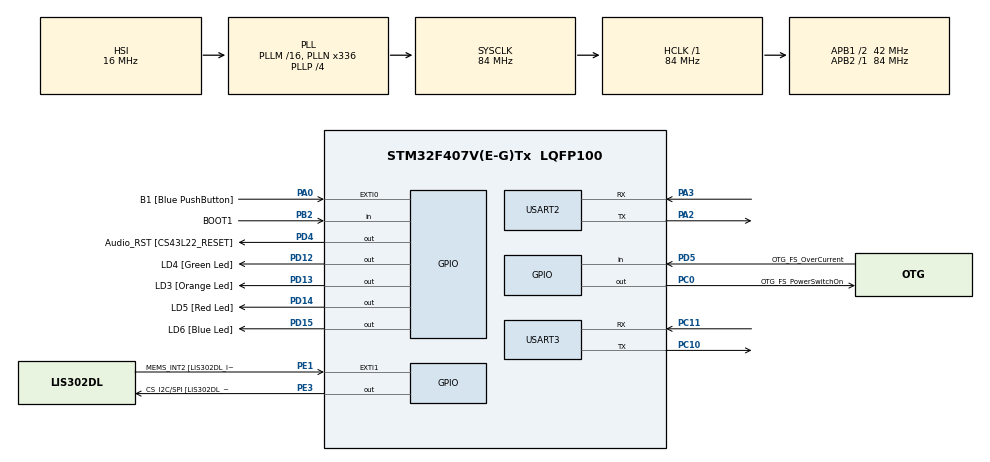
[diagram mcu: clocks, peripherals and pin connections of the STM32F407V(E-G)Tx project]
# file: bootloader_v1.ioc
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Mcu.Family=STM32F4
Mcu.Name=STM32F407V(E-G)Tx
Mcu.Package=LQFP100
NVIC.PriorityGroup=NVIC_PRIORITYGROUP_0
PA0-WKUP.GPIO_Label=B1 [Blue PushButton]
PA0-WKUP.GPIO_ModeDefaultEXTI=GPIO_MODE_EVT_RISING
PA0-WKUP.GPIO_PuPd=GPIO_NOPULL
PA0-WKUP.Signal=GPXTI0
PA10.GPIO_Label=OTG_FS_ID
PA10.GPIO_Mode=GPIO_MODE_AF_PP
PA10.GPIO_PuPd=GPIO_NOPULL
PA10.GPIO_Speed=GPIO_SPEED_FREQ_LOW
PA10.Signal=USB_OTG_FS_ID
PA11.GPIO_Label=OTG_FS_DM
PA11.GPIO_Mode=GPIO_MODE_AF_PP
PA11.GPIO_PuPd=GPIO_NOPULL
PA11.GPIO_Speed=GPIO_SPEED_FREQ_LOW
PA11.Signal=USB_OTG_FS_DM
PA12.GPIO_Label=OTG_FS_DP
PA12.GPIO_Mode=GPIO_MODE_AF_PP
PA12.GPIO_PuPd=GPIO_NOPULL
PA12.GPIO_Speed=GPIO_SPEED_FREQ_LOW
PA12.Signal=USB_OTG_FS_DP
PA13.GPIO_Label=SWDIO
PA13.Signal=SYS_JTMS-SWDIO
PA14.GPIO_Label=SWCLK
PA14.Signal=SYS_JTCK-SWCLK
PA2.Mode=Asynchronous
PA2.Signal=USART2_TX
PA3.Mode=Asynchronous
PA3.Signal=USART2_RX
PA4.GPIO_Label=I2S3_WS [CS43L22_LRCK]
PA4.GPIO_Mode=GPIO_MODE_AF_PP
PA4.GPIO_PuPd=GPIO_NOPULL
PA4.GPIO_Speed=GPIO_SPEED_FREQ_LOW
PA4.Signal=I2S3_WS
PA5.GPIO_Label=SPI1_SCK [LIS302DL_SCL/SPC]
PA5.GPIO_Mode=GPIO_MODE_AF_PP
PA5.GPIO_PuPd=GPIO_NOPULL
PA5.GPIO_Speed=GPIO_SPEED_FREQ_LOW
PA5.Signal=SPI1_SCK
PA6.GPIO_Label=SPI1_MISO [LIS302DL_SDO]
PA6.GPIO_Mode=GPIO_MODE_AF_PP
PA6.GPIO_PuPd=GPIO_NOPULL
PA6.GPIO_Speed=GPIO_SPEED_FREQ_LOW
PA6.Signal=SPI1_MISO
PA7.GPIO_Label=SPI1_MOSI [LIS302DL_SDA/SDI/SDO]
PA7.GPIO_Mode=GPIO_MODE_AF_PP
PA7.GPIO_PuPd=GPIO_NOPULL
PA7.GPIO_Speed=GPIO_SPEED_FREQ_LOW
PA7.Signal=SPI1_MOSI
PA9.GPIO_Label=VBUS_FS
PA9.GPIO_Mode=GPIO_MODE_INPUT
PA9.GPIO_PuPd=GPIO_NOPULL
PA9.Signal=USB_OTG_FS_VBUS
PB10.GPIO_Label=CLK_IN [MP45DT02_CLK]
PB10.GPIO_Mode=GPIO_MODE_AF_PP
PB10.GPIO_PuPd=GPIO_NOPULL
PB10.GPIO_Speed=GPIO_SPEED_FREQ_LOW
PB10.Signal=I2S2_CK
PB2.GPIO_Label=BOOT1
PB2.GPIO_Mode=GPIO_MODE_INPUT
PB2.GPIO_PuPd=GPIO_NOPULL
PB2.Signal=GPIO_Input
PB3.GPIO_Label=SWO
PB3.Signal=SYS_JTDO-SWO
PB6.GPIO_Label=Audio_SCL [CS43L22_SCL]
PB6.GPIO_Mode=GPIO_MODE_AF_OD
PB6.GPIO_PuPd=GPIO_NOPULL
PB6.GPIO_Speed=GPIO_SPEED_FREQ_LOW
PB6.Signal=I2C1_SCL
PB9.GPIO_Label=Audio_SDA [CS43L22_SDA]
PB9.GPIO_Mode=GPIO_MODE_AF_OD
PB9.GPIO_PuPd=GPIO_NOPULL
PB9.GPIO_Speed=GPIO_SPEED_FREQ_LOW
PB9.Signal=I2C1_SDA
PC0.GPIO_Label=OTG_FS_PowerSwitchOn
PC0.GPIO_PuPd=GPIO_NOPULL
PC0.GPIO_Speed=GPIO_SPEED_FREQ_LOW
PC0.PinState=GPIO_PIN_SET
PC0.Signal=GPIO_Output
PC10.Mode=Asynchronous
PC10.Signal=USART3_TX
PC11.Mode=Asynchronous
PC11.Signal=USART3_RX
PC12.GPIO_Label=I2S3_SD [CS43L22_SDIN]
PC12.GPIO_Mode=GPIO_MODE_AF_PP
PC12.GPIO_PuPd=GPIO_NOPULL
PC12.GPIO_Speed=GPIO_SPEED_FREQ_LOW
PC12.Signal=I2S3_SD
PC14-OSC32_IN.GPIO_Label=PC14-OSC32_IN
PC14-OSC32_IN.Signal=RCC_OSC32_IN
PC15-OSC32_OUT.GPIO_Label=PC15-OSC32_OUT
PC15-OSC32_OUT.Signal=RCC_OSC32_OUT
PC3.GPIO_Label=PDM_OUT [MP45DT02_DOUT]
PC3.GPIO_Mode=GPIO_MODE_AF_PP
PC3.GPIO_PuPd=GPIO_NOPULL
PC3.GPIO_Speed=GPIO_SPEED_FREQ_LOW
PC3.Signal=I2S2_SD
PC7.GPIO_Label=I2S3_MCK [CS43L22_MCLK]
PC7.GPIO_Mode=GPIO_MODE_AF_PP
PC7.GPIO_PuPd=GPIO_NOPULL
PC7.GPIO_Speed=GPIO_SPEED_FREQ_LOW
PC7.Signal=I2S3_MCK
PD12.GPIO_Label=LD4 [Green Led]
PD12.GPIO_PuPd=GPIO_NOPULL
PD12.GPIO_Speed=GPIO_SPEED_FREQ_LOW
PD12.Signal=GPIO_Output
PD13.GPIO_Label=LD3 [Orange Led]
PD13.GPIO_PuPd=GPIO_NOPULL
PD13.GPIO_Speed=GPIO_SPEED_FREQ_LOW
PD13.Signal=GPIO_Output
PD14.GPIO_Label=LD5 [Red Led]
PD14.GPIO_PuPd=GPIO_NOPULL
PD14.GPIO_Speed=GPIO_SPEED_FREQ_LOW
PD14.Signal=GPIO_Output
PD15.GPIO_Label=LD6 [Blue Led]
PD15.GPIO_PuPd=GPIO_NOPULL
PD15.GPIO_Speed=GPIO_SPEED_FREQ_LOW
PD15.Signal=GPIO_Output
PD4.GPIO_Label=Audio_RST [CS43L22_RESET]
PD4.GPIO_PuPd=GPIO_NOPULL
PD4.GPIO_Speed=GPIO_SPEED_FREQ_LOW
PD4.Signal=GPIO_Output
PD5.GPIO_Label=OTG_FS_OverCurrent
PD5.GPIO_Mode=GPIO_MODE_INPUT
PD5.GPIO_PuPd=GPIO_NOPULL
PD5.Signal=GPIO_Input
PE1.GPIO_Label=MEMS_INT2 [LIS302DL_INT2]
PE1.GPIO_ModeDefaultEXTI=GPIO_MODE_EVT_RISING
PE1.GPIO_PuPd=GPIO_NOPULL
PE1.Signal=GPXTI1
PE3.GPIO_Label=CS_I2C/SPI [LIS302DL_CS_I2C/SPI]
PE3.GPIO_PuPd=GPIO_NOPULL
PE3.GPIO_Speed=GPIO_SPEED_FREQ_LOW
PE3.Signal=GPIO_Output
PH0-OSC_IN.GPIO_Label=PH0-OSC_IN
PH0-OSC_IN.Signal=RCC_OSC_IN
PH1-OSC_OUT.GPIO_Label=PH1-OSC_OUT
PH1-OSC_OUT.Signal=RCC_OSC_OUT
ProjectManager.HeapSize=0x200
ProjectManager.StackSize=0x400
ProjectManager.TargetToolchain=MDK-ARM V5
RCC.48MHZClocksFreq_Value=48000000
RCC.AHBFreq_Value=84000000
RCC.APB1CLKDivider=RCC_HCLK_DIV2
RCC.APB1Freq_Value=42000000
RCC.APB1TimFreq_Value=84000000
RCC.APB2Freq_Value=84000000
RCC.APB2TimFreq_Value=84000000
RCC.CortexFreq_Value=84000000
RCC.HCLKFreq_Value=84000000
RCC.HSE_VALUE=8000000
RCC.HSI_VALUE=16000000
RCC.LSE_VALUE=32768
RCC.PLLN=336
RCC.PLLP=RCC_PLLP_DIV4
RCC.PLLQ=7
RCC.SYSCLKFreq_VALUE=84000000
RCC.SYSCLKSource=RCC_SYSCLKSOURCE_PLLCLK
RCC.VCOOutputFreq_Value=336000000
USART2.VirtualMode=VM_ASYNC
USART3.VirtualMode=VM_ASYNC
VP_CRC_VS_CRC.Mode=CRC_Activate
board=STM32F4DISCOVERY

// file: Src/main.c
/**
  ******************************************************************************
  * @file           : main.c
  * @brief          : Main program body
  ******************************************************************************
  ** This notice applies to any and all portions of this file
  * that are not between comment pairs USER CODE BEGIN and
  * USER CODE END. Other portions of this file, whether
  * inserted by the user or by software development tools
  * are owned by their respective copyright owners.
  *
  * COPYRIGHT(c) 2019 STMicroelectronics
  *
  * Redistribution and use in source and binary forms, with or without modification,
  * are permitted provided that the following conditions are met:
  *   1. Redistributions of source code must retain the above copyright notice,
  *      this list of conditions and the following disclaimer.
  *   2. Redistributions in binary form must reproduce the above copyright notice,
  *      this list of conditions and the following disclaimer in the documentation
  *      and/or other materials provided with the distribution.
  *   3. Neither the name of STMicroelectronics nor the names of its contributors
  *      may be used to endorse or promote products derived from this software
  *      without specific prior written permission.
  *
  * THIS SOFTWARE IS PROVIDED BY THE COPYRIGHT HOLDERS AND CONTRIBUTORS "AS IS"
  * AND ANY EXPRESS OR IMPLIED WARRANTIES, INCLUDING, BUT NOT LIMITED TO, THE
  * IMPLIED WARRANTIES OF MERCHANTABILITY AND FITNESS FOR A PARTICULAR PURPOSE ARE
  * DISCLAIMED. IN NO EVENT SHALL THE COPYRIGHT HOLDER OR CONTRIBUTORS BE LIABLE
  * FOR ANY DIRECT, INDIRECT, INCIDENTAL, SPECIAL, EXEMPLARY, OR CONSEQUENTIAL
  * DAMAGES (INCLUDING, BUT NOT LIMITED TO, PROCUREMENT OF SUBSTITUTE GOODS OR
  * SERVICES; LOSS OF USE, DATA, OR PROFITS; OR BUSINESS INTERRUPTION) HOWEVER
  * CAUSED AND ON ANY THEORY OF LIABILITY, WHETHER IN CONTRACT, STRICT LIABILITY,
  * OR TORT (INCLUDING NEGLIGENCE OR OTHERWISE) ARISING IN ANY WAY OUT OF THE USE
  * OF THIS SOFTWARE, EVEN IF ADVISED OF THE POSSIBILITY OF SUCH DAMAGE.
  *
  ******************************************************************************
  */
#include <stdint.h>
#include <stdarg.h>
#include <string.h>
#include "main.h"
#include "stm32f4xx_hal.h"

/* USER CODE BEGIN Includes */
#define BL_DEBUG_MSG_EN
/* USER CODE END Includes */

CRC_HandleTypeDef hcrc;

UART_HandleTypeDef huart2;
UART_HandleTypeDef huart3;

/* USER CODE BEGIN PV */
/* Private variables ---------------------------------------------------------*/
uint8_t supported_commands[] = {
                               BL_GET_VER ,
                               BL_GET_HELP,
                               BL_GET_CID,
                               BL_GET_RDP_STATUS,
                               BL_GO_TO_ADDR,
                               BL_FLASH_ERASE,
                               BL_MEM_WRITE,
                               BL_READ_SECTOR_P_STATUS} ;

#define D_UART &huart3
#define C_UART &huart2
/* USER CODE END PV */

void SystemClock_Config(void);
static void MX_GPIO_Init(void);
static void MX_USART2_UART_Init(void);
static void MX_USART3_UART_Init(void);
static void MX_CRC_Init(void);

/* USER CODE BEGIN PFP */
/* Private function prototypes -----------------------------------------------*/
void printmsg(char *format,...);
/* USER CODE END PFP */

/* USER CODE BEGIN 0 */
char *string1 = "Hello World\r\n";
#define BL_RX_LEN  200
uint8_t bl_rx_buffer[200];
//UART_HandleTypeDef huart2;
/* USER CODE END 0 */

int main(void)
{

  /* MCU Configuration----------------------------------------------------------*/

  /* Reset of all peripherals, Initializes the Flash interface and the Systick. */
  HAL_Init();

  /* Configure the system clock */
  SystemClock_Config();

  /* Initialize all configured peripherals */
  MX_GPIO_Init();
  MX_USART2_UART_Init();
  MX_USART3_UART_Init();
  MX_CRC_Init();

	if ( HAL_GPIO_ReadPin(B1_GPIO_Port,B1_Pin) != GPIO_PIN_RESET )
  {
	  printmsg("BL_DEBUG_MSG:Button is pressed .. going to BL mode\n\r");

	  //we should continue in bootloader mode
	  bootloader_uart_read_data();

  }
  else
  {
	  printmsg("BL_DEBUG_MSG:Button is not pressed .. executing user app\n");

		//jump to user application
		bootloader_jump_to_user_app();

  }
  /* Infinite loop */
  /* USER CODE BEGIN WHILE */
//  while (1)
//  {
//
  /* USER CODE END WHILE */

  /* USER CODE BEGIN 3 */
//
//
//  }
  /* USER CODE END 3 */

}

void  bootloader_uart_read_data(void)
{
    uint8_t rcv_len=0;

	while(1)
	{
		memset(bl_rx_buffer,0,200);
		//here we will read and decode the commands coming from host
		//first read only one byte from the host , which is the "length" field of the command packet
    HAL_UART_Receive(C_UART,bl_rx_buffer,1,HAL_MAX_DELAY);
		rcv_len= bl_rx_buffer[0];
		HAL_UART_Receive(C_UART,&bl_rx_buffer[1],rcv_len,HAL_MAX_DELAY);
		switch(bl_rx_buffer[1])
		{
            case BL_GET_VER:
                bootloader_handle_getver_cmd(bl_rx_buffer);
                break;
            case BL_GET_HELP:
                bootloader_handle_gethelp_cmd(bl_rx_buffer);
                break;
            case BL_GET_CID:
                bootloader_handle_getcid_cmd(bl_rx_buffer);
                break;
            case BL_GET_RDP_STATUS:
                bootloader_handle_getrdp_cmd(bl_rx_buffer);
                break;
            case BL_GO_TO_ADDR:
                bootloader_handle_go_cmd(bl_rx_buffer);
                break;
            case BL_FLASH_ERASE:
                bootloader_handle_flash_erase_cmd(bl_rx_buffer);
                break;
            case BL_MEM_WRITE:
                bootloader_handle_mem_write_cmd(bl_rx_buffer);
                break;
            case BL_EN_RW_PROTECT:
                bootloader_handle_en_rw_protect(bl_rx_buffer);
                break;
            case BL_MEM_READ:
                bootloader_handle_mem_read(bl_rx_buffer);
                break;
            case BL_READ_SECTOR_P_STATUS:
                bootloader_handle_read_sector_protection_status(bl_rx_buffer);
                break;
            case BL_OTP_READ:
                bootloader_handle_read_otp(bl_rx_buffer);
                break;
						case BL_DIS_RW_PROTECT:
                bootloader_handle_dis_rw_protect(bl_rx_buffer);
                break;
             default:
                printmsg("BL_DEBUG_MSG:Invalid command code received from host \n");
                break;

		}

	}

}

void bootloader_jump_to_user_app(void)
{

   //just a function pointer to hold the address of the reset handler of the user app.
    void (*app_reset_handler)(void);

    printmsg("BL_DEBUG_MSG:bootloader_jump_to_user_app\n");

    // 1. configure the MSP by reading the value from the base address of the sector 2
    uint32_t msp_value = *(volatile uint32_t *)FLASH_SECTOR2_BASE_ADDRESS;
    printmsg("BL_DEBUG_MSG:MSP value : %#x\n",msp_value);

    //This function comes from CMSIS.
    __set_MSP(msp_value);

    //SCB->VTOR = FLASH_SECTOR1_BASE_ADDRESS;

    /* 2. Now fetch the reset handler address of the user application
     * from the location FLASH_SECTOR2_BASE_ADDRESS+4
     */
    uint32_t resethandler_address = *(volatile uint32_t *) (FLASH_SECTOR2_BASE_ADDRESS + 4);

    app_reset_handler = (void*) resethandler_address;

    printmsg("BL_DEBUG_MSG: app reset handler addr : %#x\n",app_reset_handler);

    //3. jump to reset handler of the user application
    app_reset_handler();

}

 void printmsg(char *format,...)
 {
#ifdef BL_DEBUG_MSG_EN
	char str[80];

	/*Extract the the argument list using VA apis */
	va_list args;
	va_start(args, format);
	vsprintf(str, format,args);
	HAL_UART_Transmit(D_UART,(uint8_t *)str, strlen(str),HAL_MAX_DELAY);
	va_end(args);
#endif
 }

void SystemClock_Config(void)
{

  RCC_OscInitTypeDef RCC_OscInitStruct;
  RCC_ClkInitTypeDef RCC_ClkInitStruct;

    /**Configure the main internal regulator output voltage
    */
  __HAL_RCC_PWR_CLK_ENABLE();

  __HAL_PWR_VOLTAGESCALING_CONFIG(PWR_REGULATOR_VOLTAGE_SCALE1);

    /**Initializes the CPU, AHB and APB busses clocks
    */
  RCC_OscInitStruct.OscillatorType = RCC_OSCILLATORTYPE_HSI;
  RCC_OscInitStruct.HSIState = RCC_HSI_ON;
  RCC_OscInitStruct.HSICalibrationValue = 16;
  RCC_OscInitStruct.PLL.PLLState = RCC_PLL_ON;
  RCC_OscInitStruct.PLL.PLLSource = RCC_PLLSOURCE_HSI;
  RCC_OscInitStruct.PLL.PLLM = 16;
  RCC_OscInitStruct.PLL.PLLN = 336;
  RCC_OscInitStruct.PLL.PLLP = RCC_PLLP_DIV4;
  RCC_OscInitStruct.PLL.PLLQ = 7;
  if (HAL_RCC_OscConfig(&RCC_OscInitStruct) != HAL_OK)
  {
    _Error_Handler(__FILE__, __LINE__);
  }

    /**Initializes the CPU, AHB and APB busses clocks
    */
  RCC_ClkInitStruct.ClockType = RCC_CLOCKTYPE_HCLK|RCC_CLOCKTYPE_SYSCLK
                              |RCC_CLOCKTYPE_PCLK1|RCC_CLOCKTYPE_PCLK2;
  RCC_ClkInitStruct.SYSCLKSource = RCC_SYSCLKSOURCE_PLLCLK;
  RCC_ClkInitStruct.AHBCLKDivider = RCC_SYSCLK_DIV1;
  RCC_ClkInitStruct.APB1CLKDivider = RCC_HCLK_DIV2;
  RCC_ClkInitStruct.APB2CLKDivider = RCC_HCLK_DIV1;

  if (HAL_RCC_ClockConfig(&RCC_ClkInitStruct, FLASH_LATENCY_2) != HAL_OK)
  {
    _Error_Handler(__FILE__, __LINE__);
  }

    /**Configure the Systick interrupt time
    */
  HAL_SYSTICK_Config(HAL_RCC_GetHCLKFreq()/1000);

    /**Configure the Systick
    */
  HAL_SYSTICK_CLKSourceConfig(SYSTICK_CLKSOURCE_HCLK);

  /* SysTick_IRQn interrupt configuration */
  HAL_NVIC_SetPriority(SysTick_IRQn, 0, 0);
}

/* CRC init function */
static void MX_CRC_Init(void)
{

  hcrc.Instance = CRC;
  if (HAL_CRC_Init(&hcrc) != HAL_OK)
  {
    _Error_Handler(__FILE__, __LINE__);
  }

}

/* USART2 init function */
static void MX_USART2_UART_Init(void)
{

  huart2.Instance = USART2;
  huart2.Init.BaudRate = 115200;
  huart2.Init.WordLength = UART_WORDLENGTH_8B;
  huart2.Init.StopBits = UART_STOPBITS_1;
  huart2.Init.Parity = UART_PARITY_NONE;
  huart2.Init.Mode = UART_MODE_TX_RX;
  huart2.Init.HwFlowCtl = UART_HWCONTROL_NONE;
  huart2.Init.OverSampling = UART_OVERSAMPLING_16;
  if (HAL_UART_Init(&huart2) != HAL_OK)
  {
    _Error_Handler(__FILE__, __LINE__);
  }

}

/* USART3 init function */
static void MX_USART3_UART_Init(void)
{

  huart3.Instance = USART3;
  huart3.Init.BaudRate = 115200;
  huart3.Init.WordLength = UART_WORDLENGTH_8B;
  huart3.Init.StopBits = UART_STOPBITS_1;
  huart3.Init.Parity = UART_PARITY_NONE;
  huart3.Init.Mode = UART_MODE_TX_RX;
  huart3.Init.HwFlowCtl = UART_HWCONTROL_NONE;
  huart3.Init.OverSampling = UART_OVERSAMPLING_16;
  if (HAL_UART_Init(&huart3) != HAL_OK)
  {
    _Error_Handler(__FILE__, __LINE__);
  }

}

/** Configure pins as
        * Analog
        * Input
        * Output
        * EVENT_OUT
        * EXTI
     PC3   ------> I2S2_SD
     PA4   ------> I2S3_WS
     PA5   ------> SPI1_SCK
     PA6   ------> SPI1_MISO
     PA7   ------> SPI1_MOSI
     PB10   ------> I2S2_CK
     PC7   ------> I2S3_MCK
     PA9   ------> USB_OTG_FS_VBUS
     PA10   ------> USB_OTG_FS_ID
     PA11   ------> USB_OTG_FS_DM
     PA12   ------> USB_OTG_FS_DP
     PC12   ------> I2S3_SD
     PB6   ------> I2C1_SCL
     PB9   ------> I2C1_SDA
*/
static void MX_GPIO_Init(void)
{

  GPIO_InitTypeDef GPIO_InitStruct;

  /* GPIO Ports Clock Enable */
  __HAL_RCC_GPIOE_CLK_ENABLE();
  __HAL_RCC_GPIOC_CLK_ENABLE();
  __HAL_RCC_GPIOH_CLK_ENABLE();
  __HAL_RCC_GPIOA_CLK_ENABLE();
  __HAL_RCC_GPIOB_CLK_ENABLE();
  __HAL_RCC_GPIOD_CLK_ENABLE();

  /*Configure GPIO pin Output Level */
  HAL_GPIO_WritePin(CS_I2C_SPI_GPIO_Port, CS_I2C_SPI_Pin, GPIO_PIN_RESET);

  /*Configure GPIO pin Output Level */
  HAL_GPIO_WritePin(OTG_FS_PowerSwitchOn_GPIO_Port, OTG_FS_PowerSwitchOn_Pin, GPIO_PIN_SET);

  /*Configure GPIO pin Output Level */
  HAL_GPIO_WritePin(GPIOD, LD4_Pin|LD3_Pin|LD5_Pin|LD6_Pin
                          |Audio_RST_Pin, GPIO_PIN_RESET);

  /*Configure GPIO pin : CS_I2C_SPI_Pin */
  GPIO_InitStruct.Pin = CS_I2C_SPI_Pin;
  GPIO_InitStruct.Mode = GPIO_MODE_OUTPUT_PP;
  GPIO_InitStruct.Pull = GPIO_NOPULL;
  GPIO_InitStruct.Speed = GPIO_SPEED_FREQ_LOW;
  HAL_GPIO_Init(CS_I2C_SPI_GPIO_Port, &GPIO_InitStruct);

  /*Configure GPIO pin : OTG_FS_PowerSwitchOn_Pin */
  GPIO_InitStruct.Pin = OTG_FS_PowerSwitchOn_Pin;
  GPIO_InitStruct.Mode = GPIO_MODE_OUTPUT_PP;
  GPIO_InitStruct.Pull = GPIO_NOPULL;
  GPIO_InitStruct.Speed = GPIO_SPEED_FREQ_LOW;
  HAL_GPIO_Init(OTG_FS_PowerSwitchOn_GPIO_Port, &GPIO_InitStruct);

  /*Configure GPIO pin : PDM_OUT_Pin */
  GPIO_InitStruct.Pin = PDM_OUT_Pin;
  GPIO_InitStruct.Mode = GPIO_MODE_AF_PP;
  GPIO_InitStruct.Pull = GPIO_NOPULL;
  GPIO_InitStruct.Speed = GPIO_SPEED_FREQ_LOW;
  GPIO_InitStruct.Alternate = GPIO_AF5_SPI2;
  HAL_GPIO_Init(PDM_OUT_GPIO_Port, &GPIO_InitStruct);

  /*Configure GPIO pin : B1_Pin */
  GPIO_InitStruct.Pin = B1_Pin;
  GPIO_InitStruct.Mode = GPIO_MODE_EVT_RISING;
  GPIO_InitStruct.Pull = GPIO_NOPULL;
  HAL_GPIO_Init(B1_GPIO_Port, &GPIO_InitStruct);

  /*Configure GPIO pin : I2S3_WS_Pin */
  GPIO_InitStruct.Pin = I2S3_WS_Pin;
  GPIO_InitStruct.Mode = GPIO_MODE_AF_PP;
  GPIO_InitStruct.Pull = GPIO_NOPULL;
  GPIO_InitStruct.Speed = GPIO_SPEED_FREQ_LOW;
  GPIO_InitStruct.Alternate = GPIO_AF6_SPI3;
  HAL_GPIO_Init(I2S3_WS_GPIO_Port, &GPIO_InitStruct);

  /*Configure GPIO pins : SPI1_SCK_Pin SPI1_MISO_Pin SPI1_MOSI_Pin */
  GPIO_InitStruct.Pin = SPI1_SCK_Pin|SPI1_MISO_Pin|SPI1_MOSI_Pin;
  GPIO_InitStruct.Mode = GPIO_MODE_AF_PP;
  GPIO_InitStruct.Pull = GPIO_NOPULL;
  GPIO_InitStruct.Speed = GPIO_SPEED_FREQ_LOW;
  GPIO_InitStruct.Alternate = GPIO_AF5_SPI1;
  HAL_GPIO_Init(GPIOA, &GPIO_InitStruct);

  /*Configure GPIO pin : BOOT1_Pin */
  GPIO_InitStruct.Pin = BOOT1_Pin;
  GPIO_InitStruct.Mode = GPIO_MODE_INPUT;
  GPIO_InitStruct.Pull = GPIO_NOPULL;
  HAL_GPIO_Init(BOOT1_GPIO_Port, &GPIO_InitStruct);

  /*Configure GPIO pin : CLK_IN_Pin */
  GPIO_InitStruct.Pin = CLK_IN_Pin;
  GPIO_InitStruct.Mode = GPIO_MODE_AF_PP;
  GPIO_InitStruct.Pull = GPIO_NOPULL;
  GPIO_InitStruct.Speed = GPIO_SPEED_FREQ_LOW;
  GPIO_InitStruct.Alternate = GPIO_AF5_SPI2;
  HAL_GPIO_Init(CLK_IN_GPIO_Port, &GPIO_InitStruct);

  /*Configure GPIO pins : LD4_Pin LD3_Pin LD5_Pin LD6_Pin
                           Audio_RST_Pin */
  GPIO_InitStruct.Pin = LD4_Pin|LD3_Pin|LD5_Pin|LD6_Pin
                          |Audio_RST_Pin;
  GPIO_InitStruct.Mode = GPIO_MODE_OUTPUT_PP;
  GPIO_InitStruct.Pull = GPIO_NOPULL;
  GPIO_InitStruct.Speed = GPIO_SPEED_FREQ_LOW;
  HAL_GPIO_Init(GPIOD, &GPIO_InitStruct);

  /*Configure GPIO pins : I2S3_MCK_Pin I2S3_SD_Pin */
  GPIO_InitStruct.Pin = I2S3_MCK_Pin|I2S3_SD_Pin;
  GPIO_InitStruct.Mode = GPIO_MODE_AF_PP;
  GPIO_InitStruct.Pull = GPIO_NOPULL;
  GPIO_InitStruct.Speed = GPIO_SPEED_FREQ_LOW;
  GPIO_InitStruct.Alternate = GPIO_AF6_SPI3;
  HAL_GPIO_Init(GPIOC, &GPIO_InitStruct);

  /*Configure GPIO pin : VBUS_FS_Pin */
  GPIO_InitStruct.Pin = VBUS_FS_Pin;
  GPIO_InitStruct.Mode = GPIO_MODE_INPUT;
  GPIO_InitStruct.Pull = GPIO_NOPULL;
  HAL_GPIO_Init(VBUS_FS_GPIO_Port, &GPIO_InitStruct);

  /*Configure GPIO pins : OTG_FS_ID_Pin OTG_FS_DM_Pin OTG_FS_DP_Pin */
  GPIO_InitStruct.Pin = OTG_FS_ID_Pin|OTG_FS_DM_Pin|OTG_FS_DP_Pin;
  GPIO_InitStruct.Mode = GPIO_MODE_AF_PP;
  GPIO_InitStruct.Pull = GPIO_NOPULL;
  GPIO_InitStruct.Speed = GPIO_SPEED_FREQ_LOW;
  GPIO_InitStruct.Alternate = GPIO_AF10_OTG_FS;
  HAL_GPIO_Init(GPIOA, &GPIO_InitStruct);

  /*Configure GPIO pin : OTG_FS_OverCurrent_Pin */
  GPIO_InitStruct.Pin = OTG_FS_OverCurrent_Pin;
  GPIO_InitStruct.Mode = GPIO_MODE_INPUT;
  GPIO_InitStruct.Pull = GPIO_NOPULL;
  HAL_GPIO_Init(OTG_FS_OverCurrent_GPIO_Port, &GPIO_InitStruct);

  /*Configure GPIO pins : Audio_SCL_Pin Audio_SDA_Pin */
  GPIO_InitStruct.Pin = Audio_SCL_Pin|Audio_SDA_Pin;
  GPIO_InitStruct.Mode = GPIO_MODE_AF_OD;
  GPIO_InitStruct.Pull = GPIO_PULLUP;
  GPIO_InitStruct.Speed = GPIO_SPEED_FREQ_LOW;
  GPIO_InitStruct.Alternate = GPIO_AF4_I2C1;
  HAL_GPIO_Init(GPIOB, &GPIO_InitStruct);

  /*Configure GPIO pin : MEMS_INT2_Pin */
  GPIO_InitStruct.Pin = MEMS_INT2_Pin;
  GPIO_InitStruct.Mode = GPIO_MODE_EVT_RISING;
  GPIO_InitStruct.Pull = GPIO_NOPULL;
  HAL_GPIO_Init(MEMS_INT2_GPIO_Port, &GPIO_InitStruct);

}

void _Error_Handler(char *file, int line)
{
  while(1)
  {
  }
}

void bootloader_handle_getver_cmd(uint8_t *bl_rx_buffer)
{
    uint8_t bl_version;

    // 1) verify the checksum
      printmsg("BL_DEBUG_MSG:bootloader_handle_getver_cmd\n");

	 //Total length of the command packet
	  uint32_t command_packet_len = bl_rx_buffer[0]+1 ;

	  //extract the CRC32 sent by the Host
	  uint32_t host_crc = *((uint32_t * ) (bl_rx_buffer+command_packet_len - 4) ) ;

    if (! bootloader_verify_crc(&bl_rx_buffer[0],command_packet_len-4,host_crc))
    {
        printmsg("BL_DEBUG_MSG:checksum success !!\n");
        // checksum is correct..
        bootloader_send_ack(bl_rx_buffer[0],1);
        bl_version=get_bootloader_version();
        printmsg("BL_DEBUG_MSG:BL_VER : %d %#x\n",bl_version,bl_version);
        bootloader_uart_write_data(&bl_version,1);

    }
		else
    {
        printmsg("BL_DEBUG_MSG:checksum fail !!\n");
        //checksum is wrong send nack
        bootloader_send_nack();
    }

}

/*Helper function to handle BL_GET_HELP command
 * Bootloader sends out All supported Command codes
 */
void bootloader_handle_gethelp_cmd(uint8_t *pBuffer)
{
		//uint8_t supported_commands[12];

    // 1) verify the checksum
      printmsg("BL_DEBUG_MSG:bootloader_handle_gethelp_cmd\n");

	 //Total length of the command packet
	  uint32_t command_packet_len = pBuffer[0]+1 ;
		  //extract the CRC32 sent by the Host
	  uint32_t host_crc = *((uint32_t * ) (pBuffer+command_packet_len - 4) ) ;

    if (! bootloader_verify_crc(&pBuffer[0],command_packet_len-4,host_crc))
    {
        printmsg("BL_DEBUG_MSG:checksum success !!\n");
        // checksum is correct..
        bootloader_send_ack(pBuffer[0],sizeof (supported_commands));

				bootloader_uart_write_data(supported_commands,sizeof(supported_commands));
		}
		else
    {
        printmsg("BL_DEBUG_MSG:checksum fail !!\n");
        //checksum is wrong send nack
        bootloader_send_nack();
    }
}

/*Helper function to handle BL_GET_CID command */
void bootloader_handle_getcid_cmd(uint8_t *pBuffer)
{
		uint16_t device_id;

    // 1) verify the checksum
    printmsg("BL_DEBUG_MSG:bootloader_handle_get_cid_cmd\n");

	 //Total length of the command packet
	  uint32_t command_packet_len = pBuffer[0]+1 ;
		  //extract the CRC32 sent by the Host
	  uint32_t host_crc = *((uint32_t * ) (pBuffer+command_packet_len - 4) ) ;

    if (! bootloader_verify_crc(&pBuffer[0],command_packet_len-4,host_crc))
    {
        printmsg("BL_DEBUG_MSG:checksum success !!\n");
        // checksum is correct..
        bootloader_send_ack(pBuffer[0],sizeof(device_id));
				device_id=(uint16_t)(DBGMCU->IDCODE) & 0x0FFF;
				bootloader_uart_write_data((uint8_t*)&device_id,2);
		}
		else
    {
        printmsg("BL_DEBUG_MSG:checksum fail !!\n");
        //checksum is wrong send nack
        bootloader_send_nack();
		}
}

/*Helper function to handle BL_GET_RDP_STATUS command */
void bootloader_handle_getrdp_cmd(uint8_t *pBuffer)
{
		uint16_t rdp_status=0;

    // 1) verify the checksum
    printmsg("BL_DEBUG_MSG:bootloader_handle_get_cid_cmd\n");

	 //Total length of the command packet
	  uint32_t command_packet_len = pBuffer[0]+1 ;
		  //extract the CRC32 sent by the Host
	  uint32_t host_crc = *((uint32_t * ) (pBuffer+command_packet_len - 4) ) ;

    if (! bootloader_verify_crc(&pBuffer[0],command_packet_len-4,host_crc))
    {
        printmsg("BL_DEBUG_MSG:checksum success !!\n");
				bootloader_send_ack(pBuffer[0],sizeof(rdp_status));
				rdp_status = get_flash_rdp_status();
				bootloader_uart_write_data((uint8_t*)&rdp_status,1);
		}
		else
    {
        printmsg("BL_DEBUG_MSG:checksum fail !!\n");
        //checksum is wrong send nack
        bootloader_send_nack();
		}

}

/*Helper function to handle BL_GO_TO_ADDR command */
void bootloader_handle_go_cmd(uint8_t *pBuffer)
{
			uint32_t goaddr;
		    uint8_t addr_valid = ADDR_VALID;
    uint8_t addr_invalid = ADDR_INVALID;

    // 1) verify the checksum
    printmsg("BL_DEBUG_MSG:bootloader_handle_goto_address_cmd\n");

	 //Total length of the command packet
	  uint32_t command_packet_len = pBuffer[0]+1 ;
		  //extract the CRC32 sent by the Host
	  uint32_t host_crc = *((uint32_t * ) (pBuffer+command_packet_len - 4) ) ;

    if (! bootloader_verify_crc(&pBuffer[0],command_packet_len-4,host_crc))
    {
        printmsg("BL_DEBUG_MSG:checksum success !!\n");
				bootloader_send_ack(pBuffer[0],1);
				//extract the address
				goaddr = *((uint32_t*)&(pBuffer[2]));
				printmsg("BL_DEBUG_MSG:GO ADDR: %#x\n",goaddr);
				if(verify_address(goaddr) == ADDR_VALID)
				{
					//tell host that address is fine
					bootloader_uart_write_data(&addr_valid,1);

					//make T_bit=1
					goaddr+=1;
					void(*lets_jump)(void)=(void*)goaddr;
					printmsg("BL_DEBUG_MSG:jumping to address\n");
					lets_jump();
				}
				else
				{
					  printmsg("BL_DEBUG_MSG:GO addr invalid ! \n");
            //tell host that address is invalid
            bootloader_uart_write_data(&addr_invalid,1);

				}
		}
		else
		{
				printmsg("BL_DEBUG_MSG:checksum fail !!\n");
        //checksum is wrong send nack
        bootloader_send_nack();

		}

}

/*Helper function to handle BL_FLASH_ERASE command */
void bootloader_handle_flash_erase_cmd(uint8_t *pBuffer)
{

		uint8_t sector_num;
		uint8_t no_of_sectors;
		uint8_t eraseStatus=0x00;
		//HAL_StatusTypeDef eraseStatus;

	    // 1) verify the checksum
    printmsg("BL_DEBUG_MSG:bootloader_handle_flash_erase_cmd\n");

	 //Total length of the command packet
	  uint32_t command_packet_len = pBuffer[0]+1 ;
		  //extract the CRC32 sent by the Host
	  uint32_t host_crc = *((uint32_t * ) (pBuffer+command_packet_len - 4) ) ;

    if (! bootloader_verify_crc(&pBuffer[0],command_packet_len-4,host_crc))
    {
        printmsg("BL_DEBUG_MSG:checksum success !!\n");
				bootloader_send_ack(pBuffer[0],1);
				printmsg("BL_DEBUG_MSG: initial_sector: %d 	no_of_sectors: %d",pBuffer[2],pBuffer[3]);
				sector_num=pBuffer[2];
				no_of_sectors = pBuffer[3];

				HAL_GPIO_WritePin(LD5_GPIO_Port,LD5_Pin,1);
				eraseStatus = execute_flash_erase(sector_num,no_of_sectors);
				HAL_GPIO_WritePin(LD5_GPIO_Port,LD5_Pin,0);

				printmsg("BL_DEBUG_MSG: flash erase status: %#x\n",eraseStatus);
				bootloader_uart_write_data(&eraseStatus,1);

		}
		else
		{
				printmsg("BL_DEBUG_MSG:checksum fail !!\n");
        //checksum is wrong send nack
        bootloader_send_nack();

		}

}

/*Helper function to handle BL_MEM_WRITE command */
void bootloader_handle_mem_write_cmd(uint8_t *pBuffer)
{
	uint8_t addr_valid = ADDR_VALID;
	uint8_t write_status = 0x00;
	uint8_t chksum =0, len=0;
	len = pBuffer[0];
	uint8_t payload_len = pBuffer[6];

	uint32_t mem_address = *((uint32_t *) ( &pBuffer[2]) );

	chksum = pBuffer[len];

    printmsg("BL_DEBUG_MSG:bootloader_handle_mem_write_cmd\n");

    //Total length of the command packet
	uint32_t command_packet_len = pBuffer[0]+1 ;

	//extract the CRC32 sent by the Host
	uint32_t host_crc = *((uint32_t * ) (pBuffer+command_packet_len - 4) ) ;

	if (! bootloader_verify_crc(&pBuffer[0],command_packet_len-4,host_crc))
	{
        printmsg("BL_DEBUG_MSG:checksum success !!\n");

        bootloader_send_ack(pBuffer[0],1);

        printmsg("BL_DEBUG_MSG: mem write address : %#x\n",mem_address);

		if( verify_address(mem_address) == ADDR_VALID )
		{

            printmsg("BL_DEBUG_MSG: valid mem write address\n");

            //glow the led to indicate bootloader is currently writing to memory
            HAL_GPIO_WritePin(LD3_GPIO_Port, LD3_Pin, GPIO_PIN_SET);

            //execute mem write
            write_status = execute_mem_write(&pBuffer[7],mem_address, payload_len);

            //turn off the led to indicate memory write is over
            HAL_GPIO_WritePin(LD3_GPIO_Port, LD3_Pin, GPIO_PIN_RESET);

            //inform host about the status
            bootloader_uart_write_data(&write_status,1);

		}else
		{
            printmsg("BL_DEBUG_MSG: invalid mem write address\n");
            write_status = ADDR_INVALID;
            //inform host that address is invalid
            bootloader_uart_write_data(&write_status,1);
		}

	}else
	{
        printmsg("BL_DEBUG_MSG:checksum fail !!\n");
        bootloader_send_nack();
	}

}

/*Helper function to handle BL_EN_RW_PROTECT  command */
void bootloader_handle_en_rw_protect(uint8_t *pBuffer)
{
	    uint8_t status = 0x00;
    printmsg("BL_DEBUG_MSG:bootloader_handle_endis_rw_protect\n");

    //Total length of the command packet
	uint32_t command_packet_len = bl_rx_buffer[0]+1 ;

	//extract the CRC32 sent by the Host
	uint32_t host_crc = *((uint32_t * ) (bl_rx_buffer+command_packet_len - 4) ) ;

	if (! bootloader_verify_crc(&bl_rx_buffer[0],command_packet_len-4,host_crc))
	{
        printmsg("BL_DEBUG_MSG:checksum success !!\n");
        bootloader_send_ack(pBuffer[0],1);

        status = configure_flash_sector_rw_protection(pBuffer[2] , pBuffer[3],0);

        printmsg("BL_DEBUG_MSG: flash erase status: %#x\n",status);

        bootloader_uart_write_data(&status,1);

	}else
	{
        printmsg("BL_DEBUG_MSG:checksum fail !!\n");
        bootloader_send_nack();
	}

}

/*Helper function to handle BL_EN_RW_PROTECT  command */
void bootloader_handle_dis_rw_protect(uint8_t *pBuffer)
{

}

/*Helper function to handle BL_MEM_READ command */
void bootloader_handle_mem_read (uint8_t *pBuffer)
{

}

/*Helper function to handle _BL_READ_SECTOR_P_STATUS command */
void bootloader_handle_read_sector_protection_status(uint8_t *pBuffer)
{

}

/*Helper function to handle BL_OTP_READ command */
void bootloader_handle_read_otp(uint8_t *pBuffer)
{

}

/*This function sends ACK if CRC matches along with "len to follow"*/
void bootloader_send_ack(uint8_t command_code, uint8_t follow_len)
{
	 //here we send 2 byte.. first byte is ack and the second byte is len value
	uint8_t ack_buf[2];
	ack_buf[0] = BL_ACK;
	ack_buf[1] = follow_len;
	HAL_UART_Transmit(C_UART,ack_buf,2,HAL_MAX_DELAY);

}

/*This function sends NACK */
void bootloader_send_nack(void)
{
	uint8_t nack = BL_NACK;
	HAL_UART_Transmit(C_UART,&nack,1,HAL_MAX_DELAY);
}

//This verifies the CRC of the given buffer in pData .
uint8_t bootloader_verify_crc (uint8_t *pData, uint32_t len, uint32_t crc_host)
{
    uint32_t uwCRCValue=0xff;

    for (uint32_t i=0 ; i < len ; i++)
	{
        uint32_t i_data = pData[i];
        uwCRCValue = HAL_CRC_Accumulate(&hcrc, &i_data, 1);
	}

	 /* Reset CRC Calculation Unit */
  __HAL_CRC_DR_RESET(&hcrc);

	if( uwCRCValue == crc_host)
	{
		return VERIFY_CRC_SUCCESS;
	}

	return VERIFY_CRC_FAIL;
}

uint8_t get_bootloader_version(void)
{
	return (uint8_t) BL_VERSION;
}

void bootloader_uart_write_data(uint8_t *pBuffer,uint32_t len)
{
	HAL_UART_Transmit(C_UART,pBuffer,len,HAL_MAX_DELAY);

}

uint8_t get_flash_rdp_status(void)
{
	uint8_t rdp_status=0;

	#if 0
	FLASH_OBProgramInitTypeDef ob_handle;
	HAL_FLASHEx_OBGetConfig(&ob_handle);
	rdp_status=	(uint8_t)ob_handle.RDPLevel;
	#else
	volatile uint32_t *pOB_addr = (uint32_t*)0x1FFFC000;
	rdp_status = (uint8_t)(*pOB_addr >> 8);
	#endif
	return rdp_status;

}

uint8_t verify_address(uint32_t goaddr)
{
	//valid address
	//1)system memory
	//2)sram1 memory
	//3)backup sram memory
	//4)external memory

	if(goaddr >= SRAM1_BASE && goaddr<= SRAM1_END)
		return ADDR_VALID;
	else if(goaddr >= SRAM2_BASE && goaddr<= SRAM2_END)
		return ADDR_VALID;
	else if(goaddr >= FLASH_BASE && goaddr<= FLASH_END)
		return ADDR_VALID;
	else if(goaddr >= BKPSRAM_BASE && goaddr <= BKPSRAM_END)
		return ADDR_VALID;
	else
		return ADDR_INVALID;
}

uint8_t execute_flash_erase(uint8_t sector_num,uint8_t no_of_sectors)
{
	FLASH_EraseInitTypeDef *flashErase;
	HAL_StatusTypeDef eraseStatus;
	uint32_t sectorError;

			if(no_of_sectors > 12)
				return INVALID_SECTOR;

			if( (sector_num == 0xff ) || (sector_num <= 7) )
			{
				if(sector_num != 0xFF)
				{
					flashErase->TypeErase = FLASH_TYPEERASE_SECTORS;
				}
				else
				{
					flashErase->TypeErase=FLASH_TYPEERASE_MASSERASE;
				}
				flashErase->Banks =FLASH_BANK_1;
				uint8_t remainingSectors=12-sector_num;
				flashErase->Sector = sector_num;//FLASH_SECTOR_0;
				if(remainingSectors < no_of_sectors)
						no_of_sectors = remainingSectors;
				flashErase->NbSectors = no_of_sectors;

				HAL_FLASH_Unlock();
				flashErase->VoltageRange=FLASH_VOLTAGE_RANGE_3;
				eraseStatus=(uint8_t)HAL_FLASHEx_Erase(flashErase,&sectorError);
				HAL_FLASH_Lock();

				return eraseStatus;
			}
			return INVALID_SECTOR;
				//if(eraseStatus==0x00);
}

/*This function writes the contents of pBuffer to  "mem_address" byte by byte */
//Note1 : Currently this function supports writing to Flash only .
//Note2 : This functions does not check whether "mem_address" is a valid address of the flash range.
uint8_t execute_mem_write(uint8_t *pBuffer, uint32_t mem_address, uint32_t len)
{
    uint8_t status=HAL_OK;

    //We have to unlock flash module to get control of registers
    HAL_FLASH_Unlock();

    for(uint32_t i = 0 ; i <len ; i++)
    {
        //Here we program the flash byte by byte
        status = HAL_FLASH_Program(FLASH_TYPEPROGRAM_BYTE,mem_address+i,pBuffer[i] );
    }

    HAL_FLASH_Lock();

    return status;
}

uint8_t configure_flash_sector_rw_protection(uint8_t sector_details, uint8_t protection_mode, uint8_t disable)
{
    //First configure the protection mode
    //protection_mode =1 , means write protect of the user flash sectors
    //protection_mode =2, means read/write protect of the user flash sectors
    //According to RM of stm32f446xx TABLE 9, We have to modify the address 0x1FFF C008 bit 15(SPRMOD)

	 //Flash option control register (OPTCR)
    volatile uint32_t *pOPTCR = (uint32_t*) 0x40023C14;

	  if(disable)
		{

			//disable all r/w protection on sectors

			//Option byte configuration unlock
			HAL_FLASH_OB_Unlock();

			//wait till no active operation on flash
			while(__HAL_FLASH_GET_FLAG(FLASH_FLAG_BSY) != RESET);

			//clear the 31st bit (default state)
			//please refer : Flash option control register (FLASH_OPTCR) in RM
			*pOPTCR &= ~(1 << 31);

			//clear the protection : make all bits belonging to sectors as 1
			*pOPTCR |= (0xFF << 16);

			//Set the option start bit (OPTSTRT) in the FLASH_OPTCR register
			*pOPTCR |= ( 1 << 1);

			//wait till no active operation on flash
			while(__HAL_FLASH_GET_FLAG(FLASH_FLAG_BSY) != RESET);

			HAL_FLASH_OB_Lock();

			return 0;

		}

	   if(protection_mode == (uint8_t) 1)
    {
           //we are putting write protection on the sectors encoded in sector_details argument

			//Option byte configuration unlock
			HAL_FLASH_OB_Unlock();

			//wait till no active operation on flash
			while(__HAL_FLASH_GET_FLAG(FLASH_FLAG_BSY) != RESET);

			//here we are setting just write protection for the sectors
			//clear the 31st bit
			//please refer : Flash option control register (FLASH_OPTCR) in RM
			*pOPTCR &= ~(1 << 31);

			//put write protection on sectors
			*pOPTCR &= ~ (sector_details << 16);

			//Set the option start bit (OPTSTRT) in the FLASH_OPTCR register
			*pOPTCR |= ( 1 << 1);

			//wait till no active operation on flash
			while(__HAL_FLASH_GET_FLAG(FLASH_FLAG_BSY) != RESET);

			HAL_FLASH_OB_Lock();
		}

		else if (protection_mode == (uint8_t) 2)
    {
	  	//Option byte configuration unlock
			HAL_FLASH_OB_Unlock();

			//wait till no active operation on flash
			while(__HAL_FLASH_GET_FLAG(FLASH_FLAG_BSY) != RESET);

			//here wer are setting read and write protection for the sectors
			//set the 31st bit
			//please refer : Flash option control register (FLASH_OPTCR) in RM
			*pOPTCR |= (1 << 31);

			//put read and write protection on sectors
            *pOPTCR &= ~(0xff << 16);
			*pOPTCR |= (sector_details << 16);

			//Set the option start bit (OPTSTRT) in the FLASH_OPTCR register
			*pOPTCR |= ( 1 << 1);

			//wait till no active operation on flash
			while(__HAL_FLASH_GET_FLAG(FLASH_FLAG_BSY) != RESET);

			HAL_FLASH_OB_Lock();
    }

		return 0;
}

/************************ (C) COPYRIGHT STMicroelectronics *****END OF FILE****/
